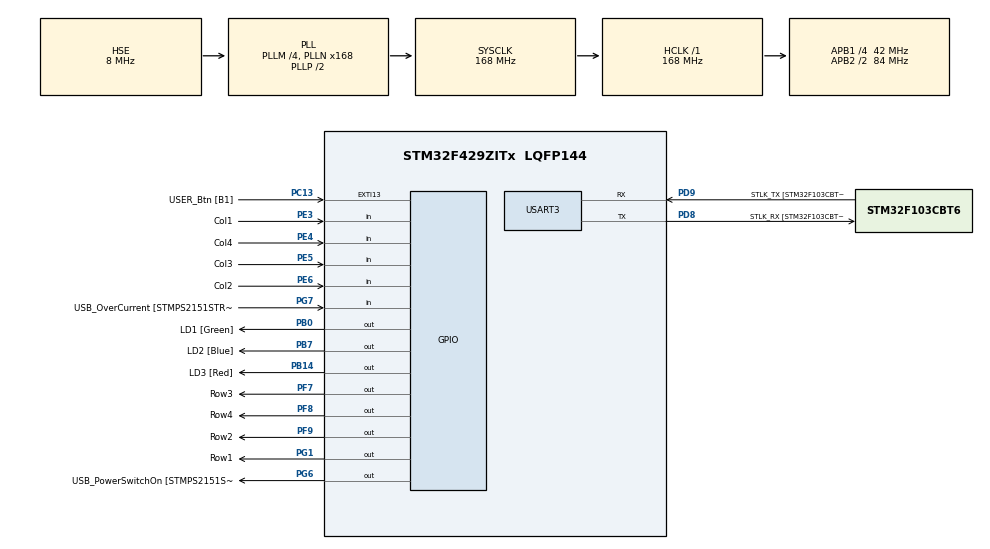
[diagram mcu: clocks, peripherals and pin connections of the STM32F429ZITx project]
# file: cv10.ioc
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Mcu.Family=STM32F4
Mcu.Name=STM32F429ZITx
Mcu.Package=LQFP144
NVIC.PriorityGroup=NVIC_PRIORITYGROUP_4
NVIC.TIM3_IRQn=true\:0\:0\:false\:false\:true\:true\:true\:true
PA1.GPIO_Label=RMII_REF_CLK [LAN8742A-CZ-TR_REFCLK0]
PA1.Signal=ETH_REF_CLK
PA10.GPIO_Label=USB_ID
PA10.Signal=USB_OTG_FS_ID
PA11.GPIO_Label=USB_DM
PA11.Signal=USB_OTG_FS_DM
PA12.GPIO_Label=USB_DP
PA12.Signal=USB_OTG_FS_DP
PA13.GPIO_Label=TMS
PA13.Mode=Serial_Wire
PA13.Signal=SYS_JTMS-SWDIO
PA14.GPIO_Label=TCK
PA14.Mode=Serial_Wire
PA14.Signal=SYS_JTCK-SWCLK
PA2.GPIO_Label=RMII_MDIO [LAN8742A-CZ-TR_MDIO]
PA2.Signal=ETH_MDIO
PA7.GPIO_Label=RMII_CRS_DV [LAN8742A-CZ-TR_CRS_DV]
PA7.Signal=ETH_CRS_DV
PA8.GPIO_Label=USB_SOF [TP1]
PA8.Signal=USB_OTG_FS_SOF
PA9.GPIO_Label=USB_VBUS
PA9.Signal=USB_OTG_FS_VBUS
PB0.GPIO_Label=LD1 [Green]
PB0.Signal=GPIO_Output
PB13.GPIO_Label=RMII_TXD1 [LAN8742A-CZ-TR_TXD1]
PB13.Signal=ETH_TXD1
PB14.GPIO_Label=LD3 [Red]
PB14.Signal=GPIO_Output
PB7.GPIO_Label=LD2 [Blue]
PB7.Signal=GPIO_Output
PC1.GPIO_Label=RMII_MDC [LAN8742A-CZ-TR_MDC]
PC1.Signal=ETH_MDC
PC13.GPIO_Label=USER_Btn [B1]
PC13.Signal=GPXTI13
PC14/OSC32_IN.Mode=LSE-External-Oscillator
PC14/OSC32_IN.Signal=RCC_OSC32_IN
PC15/OSC32_OUT.Mode=LSE-External-Oscillator
PC15/OSC32_OUT.Signal=RCC_OSC32_OUT
PC4.GPIO_Label=RMII_RXD0 [LAN8742A-CZ-TR_RXD0]
PC4.Signal=ETH_RXD0
PC5.GPIO_Label=RMII_RXD1 [LAN8742A-CZ-TR_RXD1]
PC5.Signal=ETH_RXD1
PD8.GPIO_Label=STLK_RX [STM32F103CBT6_PA3]
PD8.Mode=Asynchronous
PD8.Signal=USART3_TX
PD9.GPIO_Label=STLK_TX [STM32F103CBT6_PA2]
PD9.Mode=Asynchronous
PD9.Signal=USART3_RX
PE3.GPIO_Label=Col1
PE3.GPIO_PuPd=GPIO_PULLUP
PE3.Signal=GPIO_Input
PE4.GPIO_Label=Col4
PE4.GPIO_PuPd=GPIO_PULLUP
PE4.Signal=GPIO_Input
PE5.GPIO_Label=Col3
PE5.GPIO_PuPd=GPIO_PULLUP
PE5.Signal=GPIO_Input
PE6.GPIO_Label=Col2
PE6.GPIO_PuPd=GPIO_PULLUP
PE6.Signal=GPIO_Input
PF7.GPIO_Label=Row3
PF7.GPIO_ModeDefaultOutputPP=GPIO_MODE_OUTPUT_OD
PF7.GPIO_PuPd=GPIO_NOPULL
PF7.Signal=GPIO_Output
PF8.GPIO_Label=Row4
PF8.GPIO_ModeDefaultOutputPP=GPIO_MODE_OUTPUT_OD
PF8.GPIO_PuPd=GPIO_NOPULL
PF8.Signal=GPIO_Output
PF9.GPIO_Label=Row2
PF9.GPIO_ModeDefaultOutputPP=GPIO_MODE_OUTPUT_OD
PF9.GPIO_PuPd=GPIO_NOPULL
PF9.Signal=GPIO_Output
PG1.GPIO_Label=Row1
PG1.GPIO_ModeDefaultOutputPP=GPIO_MODE_OUTPUT_OD
PG1.GPIO_PuPd=GPIO_NOPULL
PG1.Signal=GPIO_Output
PG11.GPIO_Label=RMII_TX_EN [LAN8742A-CZ-TR_TXEN]
PG11.Signal=ETH_TX_EN
PG13.GPIO_Label=RMII_TXD0 [LAN8742A-CZ-TR_TXD0]
PG13.Signal=ETH_TXD0
PG6.GPIO_Label=USB_PowerSwitchOn [STMPS2151STR_EN]
PG6.Signal=GPIO_Output
PG7.GPIO_Label=USB_OverCurrent [STMPS2151STR_FAULT]
PG7.Signal=GPIO_Input
PH0/OSC_IN.GPIO_Label=MCO [STM32F103CBT6_PA8]
PH0/OSC_IN.Mode=HSE-External-Clock-Source
PH0/OSC_IN.Signal=RCC_OSC_IN
PH1/OSC_OUT.Mode=HSE-External-Clock-Source
PH1/OSC_OUT.Signal=RCC_OSC_OUT
ProjectManager.HeapSize=0x200
ProjectManager.StackSize=0x400
ProjectManager.TargetToolchain=STM32CubeIDE
RCC.48MHZClocksFreq_Value=48000000
RCC.AHBFreq_Value=168000000
RCC.APB1CLKDivider=RCC_HCLK_DIV4
RCC.APB1Freq_Value=42000000
RCC.APB1TimFreq_Value=84000000
RCC.APB2CLKDivider=RCC_HCLK_DIV2
RCC.APB2Freq_Value=84000000
RCC.APB2TimCLKDivider=2
RCC.APB2TimFreq_Value=168000000
RCC.CortexFreq_Value=168000000
RCC.HCLKFreq_Value=168000000
RCC.HSE_VALUE=8000000
RCC.HSI_VALUE=16000000
RCC.PLLM=4
RCC.PLLMUL=RCC_PLL_MUL9
RCC.PLLN=168
RCC.PLLQ=7
RCC.PLLSourceVirtual=RCC_PLLSOURCE_HSE
RCC.PRESCALERUSB=RCC_USBCLKSOURCE_PLL_DIV1_5
RCC.SYSCLKFreq_VALUE=168000000
RCC.SYSCLKSource=RCC_SYSCLKSOURCE_PLLCLK
RCC.SYSCLKSourceVirtual=RCC_SYSCLKSOURCE_PLLCLK
RCC.USBFreq_Value=48000000
RCC.VCOOutputFreq_Value=336000000
TIM3.AutoReloadPreload=TIM_AUTORELOAD_PRELOAD_ENABLE
TIM3.Period=99
TIM3.Prescaler=8399
USART3.VirtualMode=VM_ASYNC
VP_TIM3_VS_ClockSourceINT.Mode=Internal
board=NUCLEO-F429ZI

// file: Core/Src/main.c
/* USER CODE BEGIN Header */
/**
  ******************************************************************************
  * @file           : main.c
  * @brief          : Main program body
  ******************************************************************************
  * @attention
  *
  * Copyright (c) 2024 STMicroelectronics.
  * All rights reserved.
  *
  * This software is licensed under terms that can be found in the LICENSE file
  * in the root directory of this software component.
  * If no LICENSE file comes with this software, it is provided AS-IS.
  *
  ******************************************************************************
  */
/* USER CODE END Header */
#include "main.h"

/* USER CODE BEGIN Includes */
#include <stdio.h>
/* USER CODE END Includes */

/* USER CODE BEGIN PD */
#define TIMEOUT_T 10000
/* USER CODE END PD */

TIM_HandleTypeDef htim3;

UART_HandleTypeDef huart3;

/* USER CODE BEGIN PV */
static volatile char key = 0;
/* USER CODE END PV */

void SystemClock_Config(void);
static void MX_GPIO_Init(void);
static void MX_USART3_UART_Init(void);
static void MX_TIM3_Init(void);

/* USER CODE BEGIN 0 */
int __io_putchar(int ch)
{
	ITM_SendChar(ch);
	return 0;
}
void HAL_TIM_PeriodElapsedCallback(TIM_HandleTypeDef *htim)
{
	static uint8_t row = 0;
	static const char keyboard[4][4] = {
	{ '1', '2', '3', 'A' },
	{ '4', '5', '6', 'B' },
	{ '7', '8', '9', 'C' },
	{ '*', '0', '#', 'D' },
	};
	if (key == 0)
	{
		if (HAL_GPIO_ReadPin(Col1_GPIO_Port, Col1_Pin) == GPIO_PIN_RESET) key = keyboard[row][0];
		if (HAL_GPIO_ReadPin(Col2_GPIO_Port, Col2_Pin) == GPIO_PIN_RESET) key = keyboard[row][1];
		if (HAL_GPIO_ReadPin(Col3_GPIO_Port, Col3_Pin) == GPIO_PIN_RESET) key = keyboard[row][2];
		if (HAL_GPIO_ReadPin(Col4_GPIO_Port, Col4_Pin) == GPIO_PIN_RESET) key = keyboard[row][3];
	}
	HAL_GPIO_WritePin(Row1_GPIO_Port, Row1_Pin, GPIO_PIN_SET);
	HAL_GPIO_WritePin(Row2_GPIO_Port, Row2_Pin, GPIO_PIN_SET);
	HAL_GPIO_WritePin(Row3_GPIO_Port, Row3_Pin, GPIO_PIN_SET);
	HAL_GPIO_WritePin(Row4_GPIO_Port, Row4_Pin, GPIO_PIN_SET);
	switch (row)
	{
		case 0: row = 1; HAL_GPIO_WritePin(Row2_GPIO_Port, Row2_Pin, GPIO_PIN_RESET); break;
		case 1: row = 2; HAL_GPIO_WritePin(Row3_GPIO_Port, Row3_Pin, GPIO_PIN_RESET); break;
		case 2: row = 3; HAL_GPIO_WritePin(Row4_GPIO_Port, Row4_Pin, GPIO_PIN_RESET); break;
		case 3: row = 0; HAL_GPIO_WritePin(Row1_GPIO_Port, Row1_Pin, GPIO_PIN_RESET); break; //row=0??
	}
}
/*
void HAL_TIM_PeriodElapsedCallback(TIM_HandleTypeDef *htim)
{
static uint8_t row = 0;
static const char keyboard[4][4] = {
{ '1', '2', '3', 'A' },
{ '4', '5', '6', 'B' },
{ '7', '8', '9', 'C' },
{ '*', '0', '#', 'D' },
};
if (key == 0) {
if (HAL_GPIO_ReadPin(Col1_GPIO_Port, Col1_Pin) == GPIO_PIN_RESET) {
key = keyboard[row][0];
}
if (HAL_GPIO_ReadPin(Col2_GPIO_Port, Col2_Pin) == GPIO_PIN_RESET) {
key = keyboard[row][1];
}
if (HAL_GPIO_ReadPin(Col3_GPIO_Port, Col3_Pin) == GPIO_PIN_RESET) {
key = keyboard[row][2];
}
if (HAL_GPIO_ReadPin(Col4_GPIO_Port, Col4_Pin) == GPIO_PIN_RESET) {
key = keyboard[row][3];
}
}
HAL_GPIO_WritePin(Row1_GPIO_Port, Row1_Pin, GPIO_PIN_SET);
HAL_GPIO_WritePin(Row2_GPIO_Port, Row2_Pin, GPIO_PIN_SET);
HAL_GPIO_WritePin(Row3_GPIO_Port, Row3_Pin, GPIO_PIN_SET);
HAL_GPIO_WritePin(Row4_GPIO_Port, Row4_Pin, GPIO_PIN_SET);
switch (row) {
case 0:
row = 1;
HAL_GPIO_WritePin(Row2_GPIO_Port, Row2_Pin, GPIO_PIN_RESET);
break;
case 1:
row = 2;
HAL_GPIO_WritePin(Row3_GPIO_Port, Row3_Pin, GPIO_PIN_RESET);
break;
case 2:
row = 3;
HAL_GPIO_WritePin(Row4_GPIO_Port, Row4_Pin, GPIO_PIN_RESET);
break;
case 3:
row = 0;
HAL_GPIO_WritePin(Row1_GPIO_Port, Row1_Pin, GPIO_PIN_RESET);
break;
}
}*/
/* USER CODE END 0 */

int main(void)
{

  /* USER CODE BEGIN 1 */
	static const char password[5] =
		{'7', '9', '3', '2', '#'};
  /* USER CODE END 1 */

  /* MCU Configuration--------------------------------------------------------*/

  /* Reset of all peripherals, Initializes the Flash interface and the Systick. */
  HAL_Init();

  /* Configure the system clock */
  SystemClock_Config();

  /* Initialize all configured peripherals */
  MX_GPIO_Init();
  MX_USART3_UART_Init();
  MX_TIM3_Init();
  /* USER CODE BEGIN 2 */
  HAL_TIM_Base_Start_IT(&htim3);

  /* USER CODE END 2 */

  /* Infinite loop */
  /* USER CODE BEGIN WHILE */
  while (1)
  {
	  /*HAL_GPIO_TogglePin(LD1_GPIO_Port, LD1_Pin);
	  HAL_GPIO_TogglePin(LD2_GPIO_Port, LD2_Pin);
	  HAL_GPIO_TogglePin(LD3_GPIO_Port, LD3_Pin);
	  printf("vyledkovano\n");
	  HAL_Delay(250);*/
	  //printf("test1\n");
	  static uint8_t pos=0;
	  static char keySaved;
	  static uint32_t timeout=0;
	  static enum { LOCKED, UNLOCKED} state = LOCKED;

	  switch(state)
	  {
	  case LOCKED:
		  if(timeout<HAL_GetTick())
		  {
			pos=0;
			timeout=HAL_GetTick()+TIMEOUT_T;
		  }
		  if (key != 0)
		  {
			printf("Stisknuto: '%c'\n", key);
			keySaved = key;
			HAL_Delay(500);//zastavivse
			key = 0;
			if(keySaved==password[pos])
			{
			  pos++;
			  printf("OK\n");
			  timeout=HAL_GetTick()+TIMEOUT_T;
			}
			else
			{
			  pos=0;
			  printf("SpatneHeslo\n");
			}
			if(pos==sizeof(password)) //strlen
			{
			  state=UNLOCKED;
			  printf("Odemknuto\n");
			  HAL_GPIO_TogglePin(LD1_GPIO_Port, LD1_Pin);
			  pos=0;
			}
	  break;
	  case UNLOCKED:
		  HAL_Delay(1000);
		  HAL_GPIO_TogglePin(LD1_GPIO_Port, LD1_Pin);
		  state=LOCKED;
	  break;
	  }

  }

	  //HAL_Delay(250);
	  //printf("vyledkovano\n");
    /* USER CODE END WHILE */

  }
}

void SystemClock_Config(void)
{
  RCC_OscInitTypeDef RCC_OscInitStruct = {0};
  RCC_ClkInitTypeDef RCC_ClkInitStruct = {0};

  /** Configure the main internal regulator output voltage
  */
  __HAL_RCC_PWR_CLK_ENABLE();
  __HAL_PWR_VOLTAGESCALING_CONFIG(PWR_REGULATOR_VOLTAGE_SCALE1);

  /** Initializes the RCC Oscillators according to the specified parameters
  * in the RCC_OscInitTypeDef structure.
  */
  RCC_OscInitStruct.OscillatorType = RCC_OSCILLATORTYPE_HSE;
  RCC_OscInitStruct.HSEState = RCC_HSE_BYPASS;
  RCC_OscInitStruct.PLL.PLLState = RCC_PLL_ON;
  RCC_OscInitStruct.PLL.PLLSource = RCC_PLLSOURCE_HSE;
  RCC_OscInitStruct.PLL.PLLM = 4;
  RCC_OscInitStruct.PLL.PLLN = 168;
  RCC_OscInitStruct.PLL.PLLP = RCC_PLLP_DIV2;
  RCC_OscInitStruct.PLL.PLLQ = 7;
  if (HAL_RCC_OscConfig(&RCC_OscInitStruct) != HAL_OK)
  {
    Error_Handler();
  }

  /** Initializes the CPU, AHB and APB buses clocks
  */
  RCC_ClkInitStruct.ClockType = RCC_CLOCKTYPE_HCLK|RCC_CLOCKTYPE_SYSCLK
                              |RCC_CLOCKTYPE_PCLK1|RCC_CLOCKTYPE_PCLK2;
  RCC_ClkInitStruct.SYSCLKSource = RCC_SYSCLKSOURCE_PLLCLK;
  RCC_ClkInitStruct.AHBCLKDivider = RCC_SYSCLK_DIV1;
  RCC_ClkInitStruct.APB1CLKDivider = RCC_HCLK_DIV4;
  RCC_ClkInitStruct.APB2CLKDivider = RCC_HCLK_DIV2;

  if (HAL_RCC_ClockConfig(&RCC_ClkInitStruct, FLASH_LATENCY_5) != HAL_OK)
  {
    Error_Handler();
  }
}

static void MX_TIM3_Init(void)
{

  TIM_ClockConfigTypeDef sClockSourceConfig = {0};
  TIM_MasterConfigTypeDef sMasterConfig = {0};

  htim3.Instance = TIM3;
  htim3.Init.Prescaler = 8399;
  htim3.Init.CounterMode = TIM_COUNTERMODE_UP;
  htim3.Init.Period = 99;
  htim3.Init.ClockDivision = TIM_CLOCKDIVISION_DIV1;
  htim3.Init.AutoReloadPreload = TIM_AUTORELOAD_PRELOAD_ENABLE;
  if (HAL_TIM_Base_Init(&htim3) != HAL_OK)
  {
    Error_Handler();
  }
  sClockSourceConfig.ClockSource = TIM_CLOCKSOURCE_INTERNAL;
  if (HAL_TIM_ConfigClockSource(&htim3, &sClockSourceConfig) != HAL_OK)
  {
    Error_Handler();
  }
  sMasterConfig.MasterOutputTrigger = TIM_TRGO_RESET;
  sMasterConfig.MasterSlaveMode = TIM_MASTERSLAVEMODE_DISABLE;
  if (HAL_TIMEx_MasterConfigSynchronization(&htim3, &sMasterConfig) != HAL_OK)
  {
    Error_Handler();
  }

}

static void MX_USART3_UART_Init(void)
{

  huart3.Instance = USART3;
  huart3.Init.BaudRate = 115200;
  huart3.Init.WordLength = UART_WORDLENGTH_8B;
  huart3.Init.StopBits = UART_STOPBITS_1;
  huart3.Init.Parity = UART_PARITY_NONE;
  huart3.Init.Mode = UART_MODE_TX_RX;
  huart3.Init.HwFlowCtl = UART_HWCONTROL_NONE;
  huart3.Init.OverSampling = UART_OVERSAMPLING_16;
  if (HAL_UART_Init(&huart3) != HAL_OK)
  {
    Error_Handler();
  }

}

static void MX_GPIO_Init(void)
{
  GPIO_InitTypeDef GPIO_InitStruct = {0};

  /* GPIO Ports Clock Enable */
  __HAL_RCC_GPIOE_CLK_ENABLE();
  __HAL_RCC_GPIOC_CLK_ENABLE();
  __HAL_RCC_GPIOF_CLK_ENABLE();
  __HAL_RCC_GPIOH_CLK_ENABLE();
  __HAL_RCC_GPIOA_CLK_ENABLE();
  __HAL_RCC_GPIOB_CLK_ENABLE();
  __HAL_RCC_GPIOG_CLK_ENABLE();
  __HAL_RCC_GPIOD_CLK_ENABLE();

  /*Configure GPIO pin Output Level */
  HAL_GPIO_WritePin(GPIOF, Row3_Pin|Row4_Pin|Row2_Pin, GPIO_PIN_RESET);

  /*Configure GPIO pin Output Level */
  HAL_GPIO_WritePin(GPIOB, LD1_Pin|LD3_Pin|LD2_Pin, GPIO_PIN_RESET);

  /*Configure GPIO pin Output Level */
  HAL_GPIO_WritePin(GPIOG, Row1_Pin|USB_PowerSwitchOn_Pin, GPIO_PIN_RESET);

  /*Configure GPIO pins : Col1_Pin Col4_Pin Col3_Pin Col2_Pin */
  GPIO_InitStruct.Pin = Col1_Pin|Col4_Pin|Col3_Pin|Col2_Pin;
  GPIO_InitStruct.Mode = GPIO_MODE_INPUT;
  GPIO_InitStruct.Pull = GPIO_PULLUP;
  HAL_GPIO_Init(GPIOE, &GPIO_InitStruct);

  /*Configure GPIO pin : USER_Btn_Pin */
  GPIO_InitStruct.Pin = USER_Btn_Pin;
  GPIO_InitStruct.Mode = GPIO_MODE_IT_RISING;
  GPIO_InitStruct.Pull = GPIO_NOPULL;
  HAL_GPIO_Init(USER_Btn_GPIO_Port, &GPIO_InitStruct);

  /*Configure GPIO pins : Row3_Pin Row4_Pin Row2_Pin */
  GPIO_InitStruct.Pin = Row3_Pin|Row4_Pin|Row2_Pin;
  GPIO_InitStruct.Mode = GPIO_MODE_OUTPUT_OD;
  GPIO_InitStruct.Pull = GPIO_NOPULL;
  GPIO_InitStruct.Speed = GPIO_SPEED_FREQ_LOW;
  HAL_GPIO_Init(GPIOF, &GPIO_InitStruct);

  /*Configure GPIO pins : RMII_MDC_Pin RMII_RXD0_Pin RMII_RXD1_Pin */
  GPIO_InitStruct.Pin = RMII_MDC_Pin|RMII_RXD0_Pin|RMII_RXD1_Pin;
  GPIO_InitStruct.Mode = GPIO_MODE_AF_PP;
  GPIO_InitStruct.Pull = GPIO_NOPULL;
  GPIO_InitStruct.Speed = GPIO_SPEED_FREQ_VERY_HIGH;
  GPIO_InitStruct.Alternate = GPIO_AF11_ETH;
  HAL_GPIO_Init(GPIOC, &GPIO_InitStruct);

  /*Configure GPIO pins : RMII_REF_CLK_Pin RMII_MDIO_Pin RMII_CRS_DV_Pin */
  GPIO_InitStruct.Pin = RMII_REF_CLK_Pin|RMII_MDIO_Pin|RMII_CRS_DV_Pin;
  GPIO_InitStruct.Mode = GPIO_MODE_AF_PP;
  GPIO_InitStruct.Pull = GPIO_NOPULL;
  GPIO_InitStruct.Speed = GPIO_SPEED_FREQ_VERY_HIGH;
  GPIO_InitStruct.Alternate = GPIO_AF11_ETH;
  HAL_GPIO_Init(GPIOA, &GPIO_InitStruct);

  /*Configure GPIO pins : LD1_Pin LD3_Pin LD2_Pin */
  GPIO_InitStruct.Pin = LD1_Pin|LD3_Pin|LD2_Pin;
  GPIO_InitStruct.Mode = GPIO_MODE_OUTPUT_PP;
  GPIO_InitStruct.Pull = GPIO_NOPULL;
  GPIO_InitStruct.Speed = GPIO_SPEED_FREQ_LOW;
  HAL_GPIO_Init(GPIOB, &GPIO_InitStruct);

  /*Configure GPIO pin : Row1_Pin */
  GPIO_InitStruct.Pin = Row1_Pin;
  GPIO_InitStruct.Mode = GPIO_MODE_OUTPUT_OD;
  GPIO_InitStruct.Pull = GPIO_NOPULL;
  GPIO_InitStruct.Speed = GPIO_SPEED_FREQ_LOW;
  HAL_GPIO_Init(Row1_GPIO_Port, &GPIO_InitStruct);

  /*Configure GPIO pin : RMII_TXD1_Pin */
  GPIO_InitStruct.Pin = RMII_TXD1_Pin;
  GPIO_InitStruct.Mode = GPIO_MODE_AF_PP;
  GPIO_InitStruct.Pull = GPIO_NOPULL;
  GPIO_InitStruct.Speed = GPIO_SPEED_FREQ_VERY_HIGH;
  GPIO_InitStruct.Alternate = GPIO_AF11_ETH;
  HAL_GPIO_Init(RMII_TXD1_GPIO_Port, &GPIO_InitStruct);

  /*Configure GPIO pin : USB_PowerSwitchOn_Pin */
  GPIO_InitStruct.Pin = USB_PowerSwitchOn_Pin;
  GPIO_InitStruct.Mode = GPIO_MODE_OUTPUT_PP;
  GPIO_InitStruct.Pull = GPIO_NOPULL;
  GPIO_InitStruct.Speed = GPIO_SPEED_FREQ_LOW;
  HAL_GPIO_Init(USB_PowerSwitchOn_GPIO_Port, &GPIO_InitStruct);

  /*Configure GPIO pin : USB_OverCurrent_Pin */
  GPIO_InitStruct.Pin = USB_OverCurrent_Pin;
  GPIO_InitStruct.Mode = GPIO_MODE_INPUT;
  GPIO_InitStruct.Pull = GPIO_NOPULL;
  HAL_GPIO_Init(USB_OverCurrent_GPIO_Port, &GPIO_InitStruct);

  /*Configure GPIO pins : USB_SOF_Pin USB_ID_Pin USB_DM_Pin USB_DP_Pin */
  GPIO_InitStruct.Pin = USB_SOF_Pin|USB_ID_Pin|USB_DM_Pin|USB_DP_Pin;
  GPIO_InitStruct.Mode = GPIO_MODE_AF_PP;
  GPIO_InitStruct.Pull = GPIO_NOPULL;
  GPIO_InitStruct.Speed = GPIO_SPEED_FREQ_VERY_HIGH;
  GPIO_InitStruct.Alternate = GPIO_AF10_OTG_FS;
  HAL_GPIO_Init(GPIOA, &GPIO_InitStruct);

  /*Configure GPIO pin : USB_VBUS_Pin */
  GPIO_InitStruct.Pin = USB_VBUS_Pin;
  GPIO_InitStruct.Mode = GPIO_MODE_INPUT;
  GPIO_InitStruct.Pull = GPIO_NOPULL;
  HAL_GPIO_Init(USB_VBUS_GPIO_Port, &GPIO_InitStruct);

  /*Configure GPIO pins : RMII_TX_EN_Pin RMII_TXD0_Pin */
  GPIO_InitStruct.Pin = RMII_TX_EN_Pin|RMII_TXD0_Pin;
  GPIO_InitStruct.Mode = GPIO_MODE_AF_PP;
  GPIO_InitStruct.Pull = GPIO_NOPULL;
  GPIO_InitStruct.Speed = GPIO_SPEED_FREQ_VERY_HIGH;
  GPIO_InitStruct.Alternate = GPIO_AF11_ETH;
  HAL_GPIO_Init(GPIOG, &GPIO_InitStruct);

}

void Error_Handler(void)
{
  __disable_irq();
  while (1)
  {
  }
}
